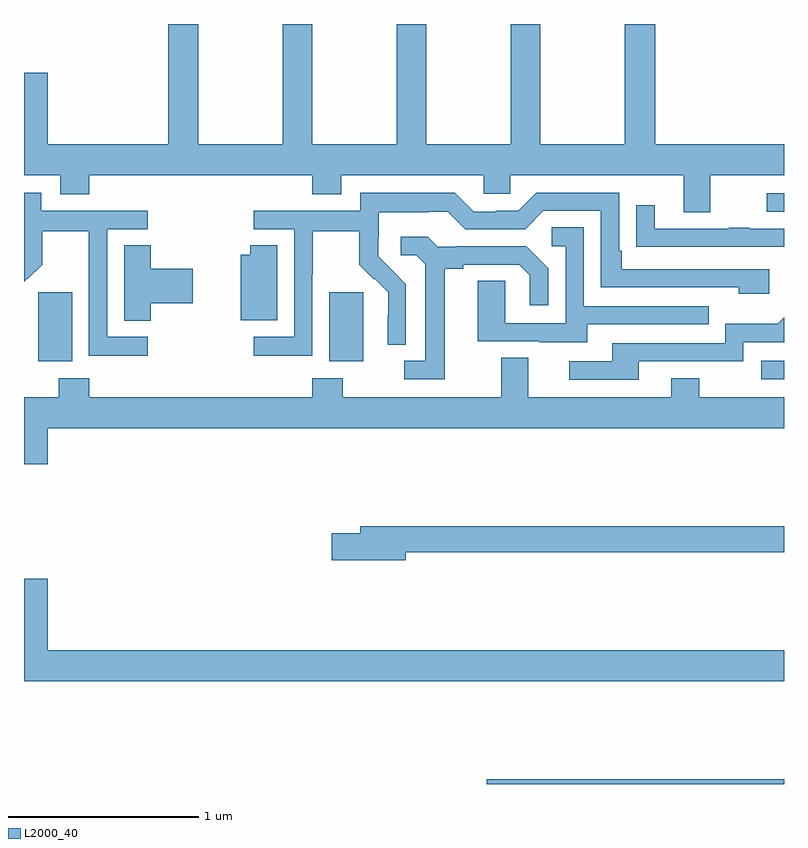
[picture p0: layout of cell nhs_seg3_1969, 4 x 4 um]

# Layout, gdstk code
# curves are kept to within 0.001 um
import gdstk
lib = gdstk.Library(unit=1e-6, precision=1e-09)
def R(c, l, rs):  # rectangles x0, y0, x1, y1
    for r in rs: c.add(gdstk.rectangle(r[:2], r[2:], *l))
def P(c, l, *ps):  # polygons
    for p in ps: c.add(gdstk.Polygon(p, *l))
L2000_40 = (2000, 40)

nhs_seg3_1969 = lib.new_cell('nhs_seg3_1969')
R(nhs_seg3_1969, L2000_40, [(215.435,676.4,217,676.424), (216.879,678.531,217,678.627), (213.074,678.626,213.253,678.987), (214.607,678.626,214.786,678.987), (216.909,679.413,217,679.509)])
P(nhs_seg3_1969, L2000_40, [(216.613,679.604),(217,679.604),(217,679.768),(216.323,679.768),(216.323,680.4),(216.163,680.4),(216.163,679.768),(215.718,679.768),(215.718,680.4),(215.563,680.4),(215.563,679.768),(215.118,679.768),(215.118,680.4),(214.963,680.4),(214.963,679.768),(214.518,679.768),(214.518,680.4),(214.363,680.4),(214.363,679.768),(213.918,679.768),(213.918,680.4),(213.758,680.4),(213.758,679.768),(213.124,679.768),(213.124,680.143),(213,680.143),(213,679.604),(213.191,679.604),(213.191,679.505),(213.344,679.505),(213.344,679.604),(214.517,679.604),(214.517,679.505),(214.669,679.505),(214.669,679.604),(215.421,679.604),(215.421,679.506),(215.559,679.506),(215.559,679.604),(216.473,679.604),(216.473,679.41),(216.613,679.41)],
  [(214.518,679.084),(214.521,679.084),(214.521,679.308),(214.765,679.308),(214.765,679.133),(214.842,679.056),(214.845,679.059),(214.916,678.989),(214.916,678.866),(214.914,678.866),(214.914,678.712),(215.01,678.712),(215.01,679.03),(214.864,679.178),(214.864,679.275),(214.866,679.275),(214.866,679.409),(215.129,679.409),(215.129,679.413),(215.229,679.413),(215.322,679.32),(215.637,679.32),(215.733,679.416),(216.036,679.416),(216.036,679.014),(216.761,679.014),(216.761,678.98),(216.922,678.98),(216.922,679.11),(216.145,679.11),(216.145,679.207),(216.132,679.207),(216.132,679.512),(215.697,679.512),(215.601,679.416),(215.483,679.416),(215.483,679.413),(215.367,679.413),(215.267,679.513),(214.77,679.513),(214.77,679.416),(214.209,679.416),(214.209,679.32),(214.422,679.32),(214.422,678.753),(214.209,678.753),(214.209,678.655),(214.518,678.655)],
  [(213.652,678.753),(213.438,678.753),(213.438,679.32),(213.652,679.32),(213.652,679.416),(213.09,679.416),(213.09,679.513),(213,679.513),(213,679.044),(213.015,679.059),(213.018,679.056),(213.095,679.133),(213.095,679.308),(213.34,679.308),(213.34,679.084),(213.342,679.084),(213.342,678.655),(213.652,678.655)],
  [(217,679.323),(216.821,679.323),(216.821,679.328),(216.709,679.328),(216.709,679.323),(216.319,679.323),(216.319,679.447),(216.223,679.447),(216.223,679.228),(216.325,679.228),(216.325,679.227),(217,679.227)],
  [(215.965,678.819),(216.605,678.819),(216.605,678.915),(215.946,678.915),(215.946,679.331),(215.778,679.331),(215.778,679.23),(215.85,679.23),(215.85,678.825),(215.532,678.825),(215.532,679.049),(215.387,679.049),(215.387,678.729),(215.711,678.729),(215.711,678.725),(215.965,678.725)],
  [(215.215,679.112),(215.311,679.112),(215.311,679.134),(215.606,679.134),(215.663,679.077),(215.663,678.921),(215.76,678.921),(215.76,679.114),(215.644,679.23),(215.272,679.23),(215.272,679.227),(215.178,679.227),(215.126,679.279),(214.983,679.279),(214.983,679.182),(215.064,679.182),(215.111,679.135),(215.111,678.627),(215.001,678.627),(215.001,678.531),(215.215,678.531)],
  [(214.333,679.235),(214.19,679.235),(214.19,679.186),(214.142,679.186),(214.142,678.842),(214.333,678.842)],
  [(213.666,678.929),(213.889,678.929),(213.889,679.112),(213.666,679.112),(213.666,679.235),(213.527,679.235),(213.527,678.838),(213.666,678.838)],
  [(216.235,678.624),(216.786,678.624),(216.786,678.726),(217,678.726),(217,678.856),(216.967,678.823),(216.69,678.823),(216.69,678.72),(216.095,678.72),(216.095,678.624),(215.871,678.624),(215.871,678.528),(216.235,678.528)],
  [(213.124,678.272),(217,678.272),(217,678.436),(216.555,678.436),(216.555,678.535),(216.407,678.535),(216.407,678.436),(215.653,678.436),(215.653,678.644),(215.513,678.644),(215.513,678.436),(214.677,678.436),(214.677,678.535),(214.517,678.535),(214.517,678.436),(213.344,678.436),(213.344,678.535),(213.184,678.535),(213.184,678.436),(213,678.436),(213,678.084),(213.124,678.084)],
  [(215.008,677.62),(217,677.62),(217,677.756),(214.769,677.756),(214.769,677.72),(214.62,677.72),(214.62,677.578),(215.008,677.578)],
  [(217,677.104),(213.124,677.104),(213.124,677.479),(213,677.479),(213,676.94),(217,676.94)])

lib.write_gds('nhs_seg3_1969.gds')
